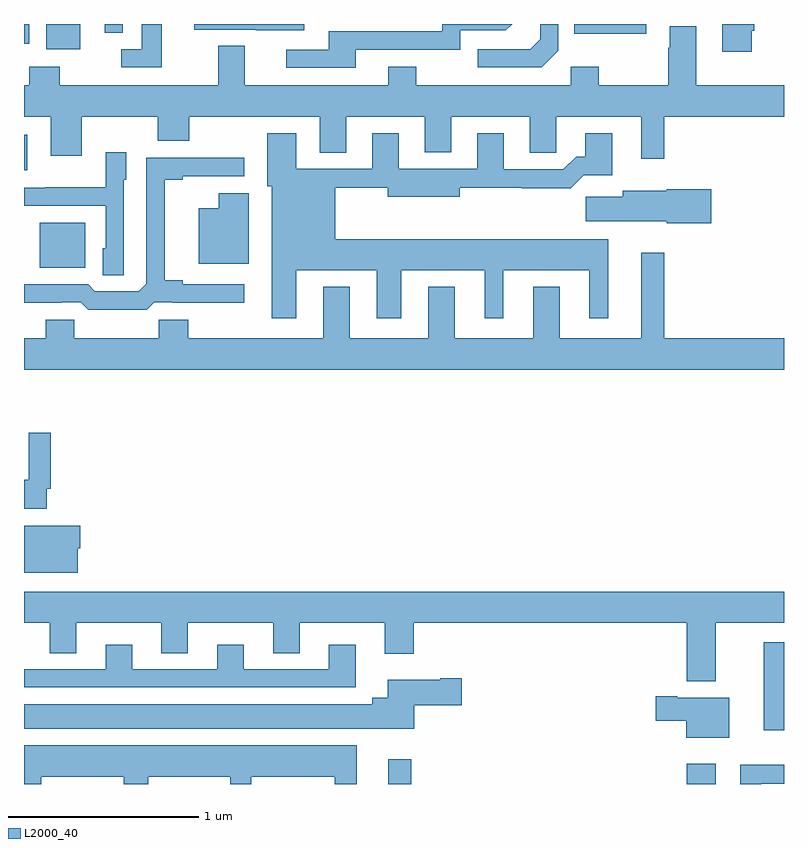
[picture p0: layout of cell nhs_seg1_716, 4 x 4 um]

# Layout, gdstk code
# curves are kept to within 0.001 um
import gdstk
lib = gdstk.Library(unit=1e-6, precision=1e-09)
def R(c, l, rs):  # rectangles x0, y0, x1, y1
    for r in rs: c.add(gdstk.rectangle(r[:2], r[2:], *l))
def P(c, l, *ps):  # polygons
    for p in ps: c.add(gdstk.Polygon(p, *l))
L2000_40 = (2000, 40)

nhs_seg1_716 = lib.new_cell('nhs_seg1_716')
R(nhs_seg1_716, L2000_40, [(150.917,568.199,151.039,568.33), (152.489,568.199,152.641,568.306), (152.894,568.482,153,568.945), (149.084,570.917,149.323,571.153), (149,571.428,149.017,571.615), (149.117,572.066,149.296,572.199), (149,572.095,149.028,572.199), (151.897,572.147,152.275,572.199), (149.424,572.152,149.52,572.199)])
P(nhs_seg1_716, L2000_40, [(150.475,572.199),(149.897,572.199),(149.897,572.169),(150.221,572.169),(150.221,572.165),(150.475,572.165)],
  [(152.83,572.164),(152.843,572.164),(152.843,572.199),(152.675,572.199),(152.675,572.052),(152.83,572.052)],
  [(149.725,572.199),(149.621,572.199),(149.621,572.067),(149.511,572.067),(149.511,571.971),(149.725,571.971)],
  [(151.812,572.058),(151.812,572.199),(151.716,572.199),(151.716,572.118),(151.665,572.067),(151.389,572.067),(151.389,571.971),(151.725,571.971)],
  [(150.745,572.064),(151.296,572.064),(151.296,572.166),(151.536,572.166),(151.569,572.199),(151.2,572.199),(151.2,572.16),(150.605,572.16),(150.605,572.064),(150.381,572.064),(150.381,571.968),(150.745,571.968)],
  [(152.371,571.712),(153,571.712),(153,571.876),(152.539,571.876),(152.539,572.188),(152.399,572.188),(152.399,572.075),(152.392,572.075),(152.392,571.876),(152.025,571.876),(152.025,571.975),(151.878,571.975),(151.878,571.876),(151.065,571.876),(151.065,571.975),(150.917,571.975),(150.917,571.876),(150.163,571.876),(150.163,572.084),(150.023,572.084),(150.023,571.876),(149.187,571.876),(149.187,571.975),(149.027,571.975),(149.027,571.876),(149,571.876),(149,571.712),(149.141,571.712),(149.141,571.506),(149.305,571.506),(149.305,571.712),(149.705,571.712),(149.705,571.584),(149.869,571.584),(149.869,571.712),(150.557,571.712),(150.557,571.522),(150.697,571.522),(150.697,571.712),(151.109,571.712),(151.109,571.523),(151.249,571.523),(151.249,571.712),(151.661,571.712),(151.661,571.522),(151.8,571.522),(151.8,571.712),(152.249,571.712),(152.249,571.491),(152.371,571.491)],
  [(150.433,570.902),(150.857,570.902),(150.857,570.651),(150.985,570.651),(150.985,570.902),(151.424,570.902),(151.424,570.651),(151.522,570.651),(151.522,570.902),(151.976,570.902),(151.976,570.651),(152.074,570.651),(152.074,571.066),(150.637,571.066),(150.637,571.336),(150.914,571.336),(150.914,571.289),(151.294,571.289),(151.294,571.336),(151.621,571.336),(151.621,571.334),(151.877,571.334),(151.946,571.403),(152.095,571.403),(152.095,571.624),(151.955,571.624),(151.955,571.501),(151.906,571.501),(151.839,571.434),(151.525,571.434),(151.525,571.624),(151.385,571.624),(151.385,571.437),(150.973,571.438),(150.973,571.624),(150.833,571.624),(150.833,571.437),(150.433,571.437),(150.433,571.624),(150.281,571.624),(150.281,571.344),(150.305,571.344),(150.305,570.651),(150.433,570.651)],
  [(149.526,571.38),(149.539,571.38),(149.539,571.525),(149.43,571.525),(149.43,571.339),(149.113,571.339),(149.113,571.338),(149,571.338),(149,571.242),(149.43,571.242),(149.43,571.02),(149.414,571.02),(149.414,570.877),(149.526,570.877)],
  [(149.685,570.735),(149.779,570.735),(149.779,570.731),(150.16,570.731),(150.16,570.828),(149.836,570.828),(149.836,570.851),(149.741,570.851),(149.741,571.378),(149.836,571.378),(149.836,571.398),(150.16,571.398),(150.16,571.494),(149.643,571.494),(149.643,570.831),(149.604,570.792),(149.373,570.792),(149.337,570.828),(149,570.828),(149,570.731),(149.198,570.731),(149.198,570.735),(149.298,570.735),(149.338,570.696),(149.645,570.696)],
  [(152.617,571.329),(152.382,571.329),(152.382,571.321),(152.15,571.321),(152.15,571.289),(151.956,571.289),(151.956,571.16),(152.382,571.16),(152.382,571.151),(152.617,571.151)],
  [(150.184,571.309),(150.026,571.309),(150.026,571.228),(149.921,571.228),(149.921,570.938),(150.184,570.938)],
  [(153,570.544),(152.371,570.544),(152.371,570.994),(152.249,570.994),(152.249,570.544),(151.819,570.544),(151.819,570.817),(151.679,570.817),(151.679,570.544),(151.267,570.544),(151.267,570.817),(151.127,570.817),(151.127,570.544),(150.715,570.544),(150.715,570.817),(150.575,570.817),(150.575,570.544),(149.865,570.544),(149.865,570.642),(149.71,570.642),(149.71,570.544),(149.265,570.544),(149.265,570.642),(149.114,570.642),(149.114,570.544),(149,570.544),(149,570.38),(153,570.38)],
  [(149.121,569.752),(149.141,569.752),(149.141,570.049),(149.024,570.049),(149.024,569.801),(149,569.801),(149,569.648),(149.121,569.648)],
  [(149.284,569.439),(149.296,569.439),(149.296,569.557),(149,569.557),(149,569.312),(149.284,569.312)],
  [(152.641,569.048),(153,569.048),(153,569.212),(149,569.212),(149,569.048),(149.135,569.048),(149.135,568.888),(149.275,568.888),(149.275,569.048),(149.723,569.048),(149.723,568.888),(149.863,568.888),(149.863,569.048),(150.311,569.048),(150.311,568.888),(150.451,568.888),(150.451,569.048),(150.899,569.048),(150.899,568.884),(151.052,568.884),(151.052,569.048),(152.489,569.048),(152.489,568.739),(152.641,568.739)],
  [(150.745,568.933),(150.605,568.933),(150.605,568.803),(150.157,568.803),(150.157,568.933),(150.017,568.933),(150.017,568.803),(149.569,568.803),(149.569,568.933),(149.429,568.933),(149.429,568.803),(149,568.803),(149,568.707),(150.745,568.707)],
  [(151.054,568.613),(151.303,568.613),(151.303,568.755),(151.19,568.755),(151.19,568.747),(150.914,568.747),(150.914,568.654),(150.833,568.654),(150.833,568.618),(149,568.618),(149,568.49),(151.054,568.49)],
  [(152.713,568.654),(152.437,568.654),(152.437,568.662),(152.325,568.662),(152.325,568.532),(152.486,568.532),(152.486,568.442),(152.713,568.442)],
  [(149.092,568.238),(149.525,568.238),(149.525,568.199),(149.653,568.199),(149.653,568.238),(150.086,568.238),(150.086,568.199),(150.196,568.199),(150.196,568.238),(150.635,568.238),(150.635,568.199),(150.751,568.199),(150.751,568.402),(149,568.402),(149,568.199),(149.092,568.199)],
  [(152.881,568.201),(153,568.201),(153,568.301),(152.769,568.301),(152.769,568.199),(152.881,568.199)])

lib.write_gds('nhs_seg1_716.gds')
